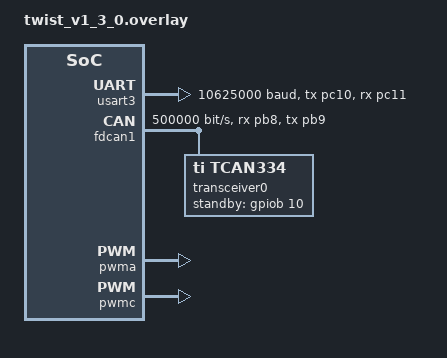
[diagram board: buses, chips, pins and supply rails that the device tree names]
/*
 * Copyright (c) 2023-2024 OwnTech.
 *
 * SPDX-License-Identifier: LGPL-2.1
 */

/ {
	choosen{
		zephyr,can-primary = &fdcan1;
	};
	
	power_shield: power-shield{
        compatible = "power-leg";
        default-frequency = <200000>;
        leg1: leg1{
            leg-name = "LEG1";
            pwm-pin-num = <12 14>;
			pwm-x1-high = <1>;
            capa-pin-num = <7>;
            driver-pin-num = <19>;
            current-pin-num = <30>;
            default-adc-trigger = "ADCTRIG_1";
            default-adc-decim = <1>;
            default-edge-trigger = "EdgeTrigger_up";
            default-dead-time = <100 100>;
            default-modulation = "UpDwn";
            default-phase-shift = <0>;
			status = "okay";
        };

        leg2: leg2{
            leg-name = "LEG2";
            pwm-pin-num = <2 4>;
			pwm-x1-high = <1>;
            capa-pin-num = <56>;
            driver-pin-num = <22>;
            current-pin-num = <25>;
            default-adc-trigger = "ADCTRIG_3";
            default-adc-decim = <1>;
            default-edge-trigger = "EdgeTrigger_up";
            default-dead-time = <100 100>;
            default-modulation = "UpDwn";
            default-phase-shift = <0>;
			status = "okay";
        };
    };

	shield-channels {
		/* Voltage channels */
		v1low: v1-low {
			compatible = "adc-channels";
			channel-name = "V1_LOW";
			default-gain = <0x3d3851ec>;
			default-offset = <0xc2b867f0>;
			spin-pin = <29>;
			v1-low-adc1 {
				io-channels = <&adc1 1>;
			};
			v1-low-adc2 {
				io-channels = <&adc2 1>;
			};
			status = "okay";
		};

		v2low: v2-low {
			compatible = "adc-channels";
			channel-name = "V2_LOW";
			default-gain = <0x3d3851ec>;
			default-offset = <0xc2b867f0>;
			spin-pin = <24>;
			v2-low-adc1 {
				io-channels = <&adc1 6>;
			};
			v2-low-adc2 {
				io-channels = <&adc2 6>;
			};
			status = "okay";
		};

		vhigh: v-high {
			compatible = "adc-channels";
			channel-name = "V_HIGH";
			default-gain = <0x3cf57710>;
			default-offset = <0x00000000>;
			spin-pin = <27>;
			v-high-adc1 {
				io-channels = <&adc1 9>;
			};
			v-high-adc2 {
				io-channels = <&adc2 9>;
			};
			status = "okay";
		};

		/* Current channels */

		i1low: i1-low {
			compatible = "adc-channels";
			channel-name = "I1_LOW";
			default-gain = <0x3ba3d70a>;
			default-offset = <0xc1200000>;
			spin-pin = <30>;
			i1-low-adc1 {
				io-channels = <&adc1 2>;
			};
			i1-low-adc2 {
				io-channels = <&adc2 2>;
			};
			status = "okay";
		};

		i2low: i2-low {
			compatible = "adc-channels";
			channel-name = "I2_LOW";
			default-gain = <0x3ba3d70a>;
			default-offset = <0xc1200000>;
			spin-pin = <25>;
			i2-low-adc1 {
				io-channels = <&adc1 7>;
			};
			i2-low-adc2 {
				io-channels = <&adc2 7>;
			};
			status = "okay";
		};

		ihigh: i-high {
			compatible = "adc-channels";
			channel-name = "I_HIGH";
			default-gain = <0x3ba3d70a>;
			default-offset = <0xc1200000>;
			spin-pin = <26>;
			i-high-adc1 {
				io-channels = <&adc1 8>;
			};
			i-high-adc2 {
				io-channels = <&adc2 8>;
			};
			status = "okay";
		};

		/* Other channels */

		temp: temp-sensor {
			compatible = "adc-channels";
			channel-name = "TEMP_SENSOR";
			default-gain = <0x3f800000>;
			default-offset = <0x00000000>;
			spin-pin = <31>;
			temp-sensor-adc3 {
				io-channels = <&adc3 12>;
			};
			status = "disabled";
		};

		extra: extra-sensor {
			compatible = "adc-channels";
			channel-name = "EXTRA_MEAS";
			default-gain = <0x3f800000>;
			default-offset = <0x00000000>;
			spin-pin = <6>;
			analog-comm-adc4 {
				io-channels = <&adc4 5>;
			};
			status = "disabled";
		};

		analog: analog-comm {
			compatible = "adc-channels";
			channel-name = "ANALOG_COMM";
			default-gain = <0x3f800000>;
			default-offset = <0x00000000>;
			spin-pin = <35>;
			extra-sensor-adc2 {
				io-channels = <&adc2 5>;
			};
			status = "okay";
		};
	};

	shield-safety-thresholds {

		/* Voltage thresholds */

		v1lowtd: v1-low-td {
			compatible = "safety-thresholds";
			channel-name = "V1_LOW";
			threshold-name = "V1_LOW_TD";
			threshold-high = <0x428c0000>; /* 70.0 */
			threshold-low = <0xc1200000>; /* -10.0 */
			status = "okay";
		};

		v2lowtd: v2-low-td {
			compatible = "safety-thresholds";
			channel-name = "V2_LOW";
			threshold-name = "V2_LOW_TD";
			threshold-high = <0x428c0000>; /* 70.0 */
			threshold-low = <0xc1200000>; /* -10.0 */
			status = "okay";
		};

		vhightd: v-high-td {
			compatible = "safety-thresholds";
			channel-name = "V_HIGH";
			threshold-name = "V_HIGH_TD";
			threshold-high = <0x42c80000>; /* 100.0 */
			threshold-low = <0x41200000>; /* 10.0 */
			status = "okay";
		};

		/* Current thresholds */

		i1lowtd: i1-low-td {
			compatible = "safety-thresholds";
			channel-name = "I1_LOW";
			threshold-name = "I1_LOW_TD";
			threshold-high = <0x40e00000>; /* 7.0 */
			threshold-low = <0xc0e00000>; /* -7.0 */
			status = "okay";
		};

		i2lowtd: i2-low-td {
			compatible = "safety-thresholds";
			channel-name = "I2_LOW";
			threshold-name = "I2_LOW_TD";
			threshold-high = <0x40e00000>; /* 7.0 */
			threshold-low = <0xc0e00000>; /* -7.0 */
			status = "okay";
		};

		ihightd: i-high-td {
			compatible = "safety-thresholds";
			channel-name = "I_HIGH";
			threshold-name = "I_HIGH_TD";
			threshold-high = <0x40e00000>; /* 7.0 */
			threshold-low = <0xc0e00000>; /* -7.0 */
			status = "okay";
		};

		/* Other channels thresholds */

		temptd: temp-sensor-td {
			compatible = "safety-thresholds";
			channel-name = "TEMP_SENSOR";
			threshold-name = "TEMP_SENSOR_TD";
			threshold-high = <0x00000000>;
			threshold-low = <0x00000000>;
			status = "disabled";
		};

		extratd: extra-sensor-td {
			compatible = "safety-thresholds";
			channel-name = "EXTRA_MEAS";
			threshold-name = "EXTRA_MEAS_TD";
			threshold-high = <0x00000000>;
			threshold-low = <0x00000000>;
			status = "disabled";
		};

		analogtd: analog-comm-td {
			compatible = "safety-thresholds";
			channel-name = "ANALOG_COMM";
			threshold-name = "ANALOG_COMM_TD";
			threshold-high = <0x00000000>;
			threshold-low = <0x00000000>;
			status = "disabled";
		};
	};
	
	ngnd: ngnd-switch {
		compatible = "gpio-device";
		ngnd-gpio-pin {
			gpios = <&gpiob 11 GPIO_ACTIVE_HIGH>;
		};
	};
};

// UART / RS485 transceiver

&usart3 {
	pinctrl-0 = < &usart3_tx_pc10 &usart3_rx_pc11 >;
	pinctrl-names = "default";
	current-speed = <10625000>;
	status = "okay";
};

// CAN

&fdcan1 {
	pinctrl-0 = <&fdcan1_rx_pb8 &fdcan1_tx_pb9>;
	pinctrl-names = "default";
	bus-speed = <500000>;
	sample-point = <875>;
	bus-speed-data = <500000>;
	sample-point-data = <875>;
	status = "okay";
	transceiver0: can-phy0 {
		compatible = "ti,tcan334", "can-transceiver-gpio";
		max-bitrate = <1000000>;
		standby-gpios = <&gpiob 10 GPIO_ACTIVE_HIGH>;
		#phy-cells = <0>;
	};
};

&pwma {
	status = "okay";
};

&pwmc {
	status = "okay";
};

&pwmd {
	status = "disabled";
};

&pwme {
	status = "disabled";
};

&pwmf {
	status = "disabled";
};

&hrtim1 {
	scin: scin {
		pinctrl-0 = <&hrtim1_scin_pb6>;
	};
	scout: scout {
		pinctrl-0 = <&hrtim1_scout_pb1>;
	};
};
